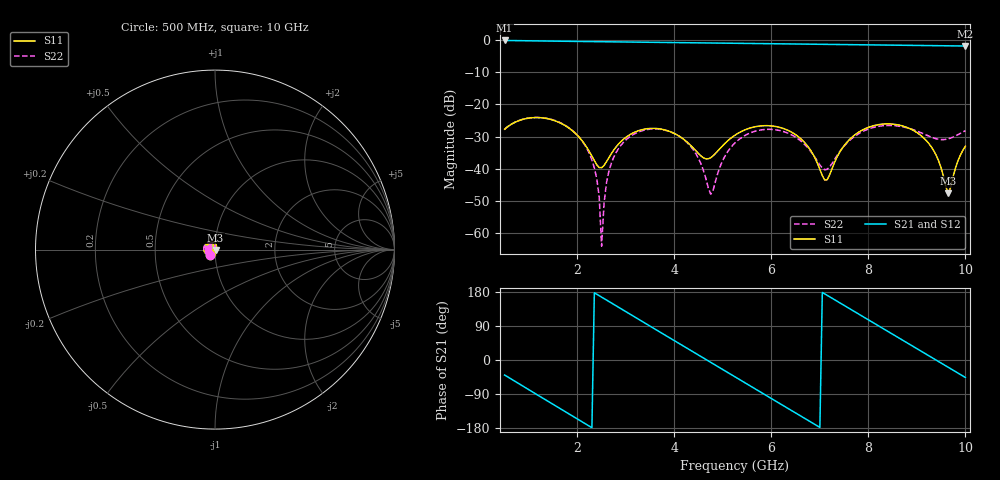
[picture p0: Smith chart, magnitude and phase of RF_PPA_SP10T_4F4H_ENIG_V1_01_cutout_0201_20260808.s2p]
! Touchstone file exported from HFSS 3D Layout Design 2026.1.0
!  File:  D:/Work/ADS/SIMADS_EM_PAR/SP8T/RF-PPA-SP10T-4F4H-ENIG-V1.0.aedt
!  Generated:  01:05:44 PM Aug  8, 2026
!  Design:  rf-ppa-sp10t-4f4h-enig-v1.01_cutout
!  Project:  RF-PPA-SP10T-4F4H-ENIG-V1.0
! Variables:
!  BendModel = 0
# GHz S MA R 50.000000
! Terminal data exported
! Port[1] = Port1
! Port[2] = Port2
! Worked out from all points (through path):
!   191 points, 500 MHz to 10 GHz, reference 50 ohm
!   highest |S21| = -0.14 dB at 500 MHz (marker M1); lowest = -1.9 dB at 10 GHz (marker M2)
!   group delay of S21, straight-line fit = 212 ps
!   lowest |S11| = -47.6 dB at 9.65 GHz (marker M3), VSWR 1.01, Z = 50.3 - j0.259 ohm
!   |S11| at or under -10 dB: start of sweep to end of sweep
!   |S22| runs from -64.0 to -24.0 dB; largest |S21 - S12| = 1.7e-14
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0.5  0.04133 -133.6  0.9835 -39.6  0.9835 -39.6  0.04129 -135.2
1.25  0.06225 168.3  0.9652 -97.8  0.9652 -97.8  0.06267 163.0
2.1  0.02722 118.0  0.9486 -163.3  0.9486 -163.3  0.02701 96.4
2.4  0.0116 137.2  0.9425 173.6  0.9425 173.6  0.007035 76.3
2.45  0.01053 149.9  0.9415 169.7  0.9415 169.7  0.003718 76.1
2.5  0.01045 164.3  0.9404 165.9  0.9404 165.9  0.0006344 117.3
2.55  0.01133 177.0  0.9394 162.1  0.9394 162.1  0.002917 -129.4
2.6  0.01293 -173.7  0.9383 158.2  0.9383 158.2  0.006092 -128.0
2.75  0.01962 -162.9  0.9352 146.7  0.9352 146.7  0.01521 -136.8
3.25  0.03898 179.4  0.9248 108.4  0.9248 108.4  0.03717 -174.6
3.7  0.04181 153.4  0.9161 73.9  0.9161 73.9  0.04123 150.3
4.35  0.02265 129.6  0.9042 24.2  0.9042 24.2  0.02171 95.6
4.75  0.01494 169.9  0.8968 -6.4  0.8968 -6.4  0.004058 -8.9
5.25  0.0334 -177.0  0.8871 -44.5  0.8871 -44.5  0.02534 -131.2
6  0.04651 141.8  0.8734 -101.7  0.8734 -101.7  0.04106 172.2
6.85  0.01731 98.4  0.8592 -166.4  0.8592 -166.4  0.0171 134.1
7.15  0.006789 158.9  0.854 170.7  0.854 170.7  0.009857 -179.8
7.65  0.03053 -173.2  0.8451 132.6  0.8451 132.6  0.02926 -153.0
8.45  0.04992 134.5  0.8314 71.8  0.8314 71.8  0.04729 168.5
9.25  0.02458 72.4  0.819 10.9  0.819 10.9  0.03222 148.5
9.65  0.004184 -38.0  0.8125 -19.5  0.8125 -19.5  0.02938 166.1
10  0.0225 -141.9  0.8067 -46.1  0.8067 -46.1  0.03931 174.2
